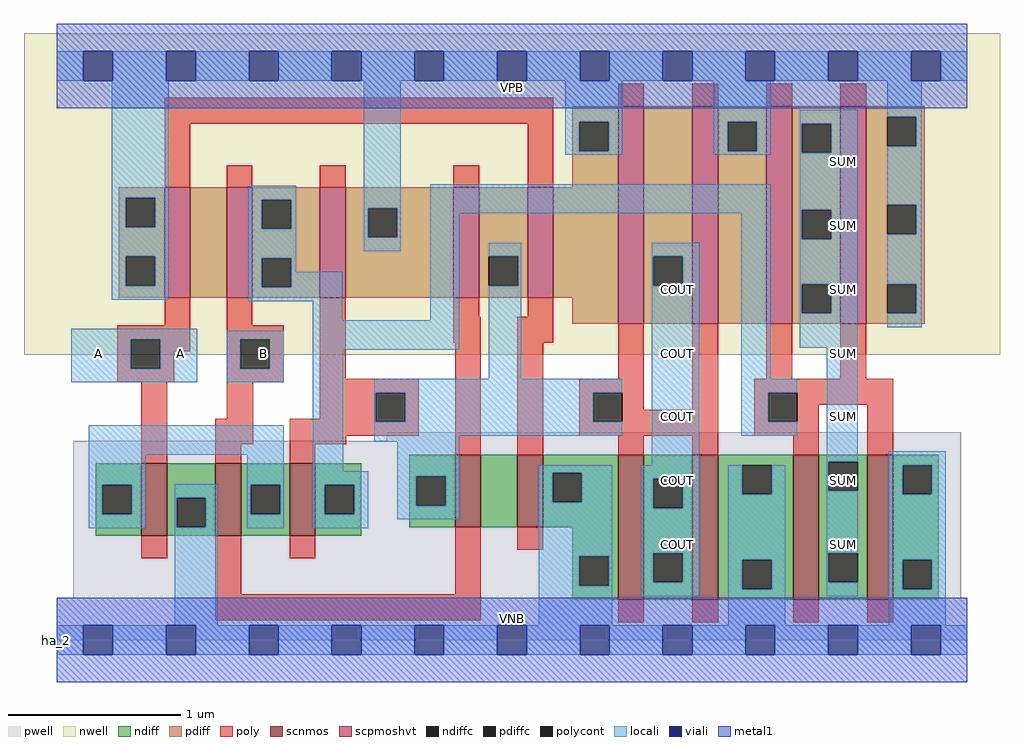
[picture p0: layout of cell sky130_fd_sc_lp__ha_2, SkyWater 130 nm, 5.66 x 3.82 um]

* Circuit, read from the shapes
.subckt sky130_fd_sc_lp__ha_2 A B VGND VNB VPB VPWR COUT SUM
XM1 VGND A n1 VNB sky130_fd_pr__nfet_01v8 w=0.42 l=0.15
XM2 n1 B VGND VNB sky130_fd_pr__nfet_01v8 w=0.42 l=0.15
XM3 n2 n3 n1 VNB sky130_fd_pr__nfet_01v8 w=0.42 l=0.15
XM4 n4 B n3 VNB sky130_fd_pr__nfet_01v8 w=0.42 l=0.15
XM5 VGND A n4 VNB sky130_fd_pr__nfet_01v8 w=0.42 l=0.15
XM6 COUT n3 VGND VNB sky130_fd_pr__nfet_01v8 w=0.84 l=0.15 m=2
XM7 SUM n2 VGND VNB sky130_fd_pr__nfet_01v8 w=0.84 l=0.15 m=2
XM8 n5 A VPWR VPB sky130_fd_pr__pfet_01v8_hvt w=0.64 l=0.15
XM9 n2 B n5 VPB sky130_fd_pr__pfet_01v8_hvt w=0.64 l=0.15
XM10 VPWR n3 n2 VPB sky130_fd_pr__pfet_01v8_hvt w=0.64 l=0.15
XM11 n3 B VPWR VPB sky130_fd_pr__pfet_01v8_hvt w=0.64 l=0.15
XM12 VPWR A n3 VPB sky130_fd_pr__pfet_01v8_hvt w=0.64 l=0.15
XM13 COUT n3 VPWR VPB sky130_fd_pr__pfet_01v8_hvt w=1.26 l=0.15 m=2
XM14 SUM n2 VPWR VPB sky130_fd_pr__pfet_01v8_hvt w=1.26 l=0.15 m=2
.ends

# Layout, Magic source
magic
tech sky130A
magscale 1 2
<< nwell >>
rect -38 331 1094 704
<< pwell >>
rect 383 231 1049 241
rect 19 49 1049 231
rect 0 0 1056 49
<< scnmos >>
rect 98 121 128 205
rect 184 121 214 205
rect 270 121 300 205
rect 462 131 492 215
rect 534 131 564 215
rect 651 47 681 215
rect 737 47 767 215
rect 854 47 884 215
rect 940 47 970 215
<< scpmoshvt >>
rect 125 397 155 525
rect 197 397 227 525
rect 305 397 335 525
rect 460 397 490 525
rect 546 397 576 525
rect 651 367 681 619
rect 737 367 767 619
rect 823 367 853 619
rect 909 367 939 619
<< ndiff >>
rect 45 180 98 205
rect 45 146 53 180
rect 87 146 98 180
rect 45 121 98 146
rect 128 165 184 205
rect 128 131 139 165
rect 173 131 184 165
rect 128 121 184 131
rect 214 180 270 205
rect 214 146 225 180
rect 259 146 270 180
rect 214 121 270 146
rect 300 180 353 205
rect 300 146 311 180
rect 345 146 353 180
rect 300 121 353 146
rect 409 190 462 215
rect 409 156 417 190
rect 451 156 462 190
rect 409 131 462 156
rect 492 131 534 215
rect 564 194 651 215
rect 564 160 575 194
rect 609 160 651 194
rect 564 131 651 160
rect 598 97 651 131
rect 598 63 606 97
rect 640 63 651 97
rect 598 47 651 63
rect 681 187 737 215
rect 681 153 692 187
rect 726 153 737 187
rect 681 101 737 153
rect 681 67 692 101
rect 726 67 737 101
rect 681 47 737 67
rect 767 203 854 215
rect 767 169 795 203
rect 829 169 854 203
rect 767 93 854 169
rect 767 59 795 93
rect 829 59 854 93
rect 767 47 854 59
rect 884 207 940 215
rect 884 173 895 207
rect 929 173 940 207
rect 884 101 940 173
rect 884 67 895 101
rect 929 67 940 101
rect 884 47 940 67
rect 970 203 1023 215
rect 970 169 981 203
rect 1015 169 1023 203
rect 970 93 1023 169
rect 970 59 981 93
rect 1015 59 1023 93
rect 970 47 1023 59
<< pdiff >>
rect 598 601 651 619
rect 598 567 606 601
rect 640 567 651 601
rect 598 525 651 567
rect 72 513 125 525
rect 72 479 80 513
rect 114 479 125 513
rect 72 445 125 479
rect 72 411 80 445
rect 114 411 125 445
rect 72 397 125 411
rect 155 397 197 525
rect 227 511 305 525
rect 227 477 238 511
rect 272 477 305 511
rect 227 443 305 477
rect 227 409 238 443
rect 272 409 305 443
rect 227 397 305 409
rect 335 501 460 525
rect 335 467 361 501
rect 395 467 460 501
rect 335 397 460 467
rect 490 445 546 525
rect 490 411 501 445
rect 535 411 546 445
rect 490 397 546 411
rect 576 397 651 525
rect 598 367 651 397
rect 681 445 737 619
rect 681 411 692 445
rect 726 411 737 445
rect 681 367 737 411
rect 767 601 823 619
rect 767 567 778 601
rect 812 567 823 601
rect 767 367 823 567
rect 853 599 909 619
rect 853 565 864 599
rect 898 565 909 599
rect 853 499 909 565
rect 853 465 864 499
rect 898 465 909 499
rect 853 413 909 465
rect 853 379 864 413
rect 898 379 909 413
rect 853 367 909 379
rect 939 607 1007 619
rect 939 573 963 607
rect 997 573 1007 607
rect 939 505 1007 573
rect 939 471 963 505
rect 997 471 1007 505
rect 939 413 1007 471
rect 939 379 963 413
rect 997 379 1007 413
rect 939 367 1007 379
<< ndiffc >>
rect 53 146 87 180
rect 139 131 173 165
rect 225 146 259 180
rect 311 146 345 180
rect 417 156 451 190
rect 575 160 609 194
rect 606 63 640 97
rect 692 153 726 187
rect 692 67 726 101
rect 795 169 829 203
rect 795 59 829 93
rect 895 173 929 207
rect 895 67 929 101
rect 981 169 1015 203
rect 981 59 1015 93
<< pdiffc >>
rect 606 567 640 601
rect 80 479 114 513
rect 80 411 114 445
rect 238 477 272 511
rect 238 409 272 443
rect 361 467 395 501
rect 501 411 535 445
rect 692 411 726 445
rect 778 567 812 601
rect 864 565 898 599
rect 864 465 898 499
rect 864 379 898 413
rect 963 573 997 607
rect 963 471 997 505
rect 963 379 997 413
<< poly >>
rect 125 599 576 629
rect 651 619 681 645
rect 737 619 767 645
rect 823 619 853 645
rect 909 619 939 645
rect 125 525 155 599
rect 197 525 227 551
rect 305 525 335 551
rect 460 525 490 551
rect 546 525 576 599
rect 125 365 155 397
rect 70 349 155 365
rect 70 315 86 349
rect 120 335 155 349
rect 197 365 227 397
rect 197 349 263 365
rect 120 315 136 335
rect 70 299 136 315
rect 197 315 213 349
rect 247 315 263 349
rect 197 299 263 315
rect 305 303 335 397
rect 460 375 490 397
rect 546 375 576 397
rect 460 345 492 375
rect 98 205 128 299
rect 197 257 228 299
rect 305 287 420 303
rect 305 257 370 287
rect 184 227 228 257
rect 270 253 370 257
rect 404 253 420 287
rect 270 237 420 253
rect 270 227 336 237
rect 184 205 214 227
rect 270 205 300 227
rect 462 215 492 345
rect 534 345 576 375
rect 534 215 564 345
rect 651 303 681 367
rect 606 287 681 303
rect 606 253 622 287
rect 656 267 681 287
rect 737 267 767 367
rect 823 303 853 367
rect 909 303 939 367
rect 656 253 767 267
rect 606 237 767 253
rect 809 287 970 303
rect 809 253 825 287
rect 859 273 970 287
rect 859 253 884 273
rect 809 237 884 253
rect 651 215 681 237
rect 737 215 767 237
rect 854 215 884 237
rect 940 215 970 273
rect 98 95 128 121
rect 184 53 214 121
rect 270 95 300 121
rect 462 53 492 131
rect 534 105 564 131
rect 184 23 492 53
rect 651 21 681 47
rect 737 21 767 47
rect 854 21 884 47
rect 940 21 970 47
<< polycont >>
rect 86 315 120 349
rect 213 315 247 349
rect 370 253 404 287
rect 622 253 656 287
rect 825 253 859 287
<< locali >>
rect 0 649 31 683
rect 65 649 127 683
rect 161 649 223 683
rect 257 649 319 683
rect 353 649 415 683
rect 449 649 511 683
rect 545 649 607 683
rect 641 649 703 683
rect 737 649 799 683
rect 833 649 895 683
rect 929 649 991 683
rect 1025 649 1056 683
rect 64 513 130 649
rect 64 479 80 513
rect 114 479 130 513
rect 64 445 130 479
rect 64 411 80 445
rect 114 411 130 445
rect 64 395 130 411
rect 222 511 278 527
rect 222 477 238 511
rect 272 477 278 511
rect 222 443 278 477
rect 356 501 399 649
rect 590 601 656 649
rect 590 567 606 601
rect 640 567 656 601
rect 590 563 656 567
rect 762 601 828 649
rect 762 567 778 601
rect 812 567 828 601
rect 762 563 828 567
rect 862 599 929 615
rect 862 565 864 599
rect 898 565 929 599
rect 356 467 361 501
rect 395 467 399 501
rect 356 451 399 467
rect 433 495 828 529
rect 222 409 238 443
rect 272 427 278 443
rect 272 409 331 427
rect 222 393 331 409
rect 297 371 331 393
rect 433 371 467 495
rect 17 349 163 361
rect 17 315 86 349
rect 120 315 163 349
rect 17 299 163 315
rect 197 349 263 359
rect 197 315 213 349
rect 247 315 263 349
rect 197 299 263 315
rect 297 337 467 371
rect 501 445 539 461
rect 535 411 539 445
rect 37 215 263 249
rect 37 180 103 215
rect 37 146 53 180
rect 87 146 103 180
rect 37 130 103 146
rect 137 165 187 181
rect 137 131 139 165
rect 173 131 187 165
rect 137 17 187 131
rect 221 180 263 215
rect 221 146 225 180
rect 259 146 263 180
rect 221 130 263 146
rect 297 196 332 337
rect 501 303 539 411
rect 690 445 745 461
rect 690 411 692 445
rect 726 411 745 445
rect 368 287 656 303
rect 368 253 370 287
rect 404 253 622 287
rect 368 237 656 253
rect 368 230 467 237
rect 297 180 361 196
rect 297 146 311 180
rect 345 146 361 180
rect 297 130 361 146
rect 395 190 467 230
rect 690 203 745 411
rect 794 303 828 495
rect 862 499 929 565
rect 862 465 864 499
rect 898 465 929 499
rect 862 413 929 465
rect 862 379 864 413
rect 898 379 929 413
rect 862 339 929 379
rect 963 607 1003 649
rect 997 573 1003 607
rect 963 505 1003 573
rect 997 471 1003 505
rect 963 413 1003 471
rect 997 379 1003 413
rect 963 363 1003 379
rect 794 287 859 303
rect 794 253 825 287
rect 794 237 859 253
rect 893 207 929 339
rect 395 156 417 190
rect 451 156 467 190
rect 395 140 467 156
rect 559 194 644 203
rect 559 160 575 194
rect 609 160 644 194
rect 559 97 644 160
rect 559 63 606 97
rect 640 63 644 97
rect 559 17 644 63
rect 678 187 745 203
rect 678 153 692 187
rect 726 153 745 187
rect 678 101 745 153
rect 678 67 692 101
rect 726 67 745 101
rect 678 51 745 67
rect 779 169 795 203
rect 829 169 845 203
rect 779 93 845 169
rect 779 59 795 93
rect 829 59 845 93
rect 779 17 845 59
rect 893 173 895 207
rect 893 101 929 173
rect 893 67 895 101
rect 893 51 929 67
rect 965 203 1031 219
rect 965 169 981 203
rect 1015 169 1031 203
rect 965 93 1031 169
rect 965 59 981 93
rect 1015 59 1031 93
rect 965 17 1031 59
rect 0 -17 31 17
rect 65 -17 127 17
rect 161 -17 223 17
rect 257 -17 319 17
rect 353 -17 415 17
rect 449 -17 511 17
rect 545 -17 607 17
rect 641 -17 703 17
rect 737 -17 799 17
rect 833 -17 895 17
rect 929 -17 991 17
rect 1025 -17 1056 17
<< viali >>
rect 31 649 65 683
rect 127 649 161 683
rect 223 649 257 683
rect 319 649 353 683
rect 415 649 449 683
rect 511 649 545 683
rect 607 649 641 683
rect 703 649 737 683
rect 799 649 833 683
rect 895 649 929 683
rect 991 649 1025 683
rect 31 -17 65 17
rect 127 -17 161 17
rect 223 -17 257 17
rect 319 -17 353 17
rect 415 -17 449 17
rect 511 -17 545 17
rect 607 -17 641 17
rect 703 -17 737 17
rect 799 -17 833 17
rect 895 -17 929 17
rect 991 -17 1025 17
<< metal1 >>
rect 0 683 1056 715
rect 0 649 31 683
rect 65 649 127 683
rect 161 649 223 683
rect 257 649 319 683
rect 353 649 415 683
rect 449 649 511 683
rect 545 649 607 683
rect 641 649 703 683
rect 737 649 799 683
rect 833 649 895 683
rect 929 649 991 683
rect 1025 649 1056 683
rect 0 617 1056 649
rect 0 17 1056 49
rect 0 -17 31 17
rect 65 -17 127 17
rect 161 -17 223 17
rect 257 -17 319 17
rect 353 -17 415 17
rect 449 -17 511 17
rect 545 -17 607 17
rect 641 -17 703 17
rect 737 -17 799 17
rect 833 -17 895 17
rect 929 -17 991 17
rect 1025 -17 1056 17
rect 0 -49 1056 -17
<< labels >>
flabel pwell s 0 0 1056 49 0 FreeSans 200 0 0 0 VNB
port 4 nsew ground bidirectional
flabel nwell s 0 617 1056 666 0 FreeSans 200 0 0 0 VPB
port 5 nsew power bidirectional
rlabel comment s 0 0 0 0 4 ha_2
flabel metal1 s 0 617 1056 666 0 FreeSans 340 0 0 0 VPWR
port 6 nsew power bidirectional
flabel metal1 s 0 0 1056 49 0 FreeSans 340 0 0 0 VGND
port 3 nsew ground bidirectional
flabel locali s 703 94 737 128 0 FreeSans 340 0 0 0 COUT
port 7 nsew signal output
flabel locali s 703 168 737 202 0 FreeSans 340 0 0 0 COUT
port 7 nsew signal output
flabel locali s 703 242 737 276 0 FreeSans 340 0 0 0 COUT
port 7 nsew signal output
flabel locali s 703 316 737 350 0 FreeSans 340 0 0 0 COUT
port 7 nsew signal output
flabel locali s 703 390 737 424 0 FreeSans 340 0 0 0 COUT
port 7 nsew signal output
flabel locali s 895 94 929 128 0 FreeSans 340 0 0 0 SUM
port 8 nsew signal output
flabel locali s 895 168 929 202 0 FreeSans 340 0 0 0 SUM
port 8 nsew signal output
flabel locali s 895 242 929 276 0 FreeSans 340 0 0 0 SUM
port 8 nsew signal output
flabel locali s 895 316 929 350 0 FreeSans 340 0 0 0 SUM
port 8 nsew signal output
flabel locali s 895 390 929 424 0 FreeSans 340 0 0 0 SUM
port 8 nsew signal output
flabel locali s 895 464 929 498 0 FreeSans 340 0 0 0 SUM
port 8 nsew signal output
flabel locali s 895 538 929 572 0 FreeSans 340 0 0 0 SUM
port 8 nsew signal output
flabel locali s 31 316 65 350 0 FreeSans 340 0 0 0 A
port 1 nsew signal input
flabel locali s 127 316 161 350 0 FreeSans 340 0 0 0 A
port 1 nsew signal input
flabel locali s 223 316 257 350 0 FreeSans 340 0 0 0 B
port 2 nsew signal input
<< properties >>
string LEFsite unit
string LEFclass CORE
string FIXED_BBOX 0 0 1056 666
string GDS_FILE $PDKPATH/libs.ref/sky130_fd_sc_lp/gds/sky130_fd_sc_lp.gds
string LEFsymmetry X Y R90
string GDS_END 6731474
string GDS_START 6722334
<< end >>
